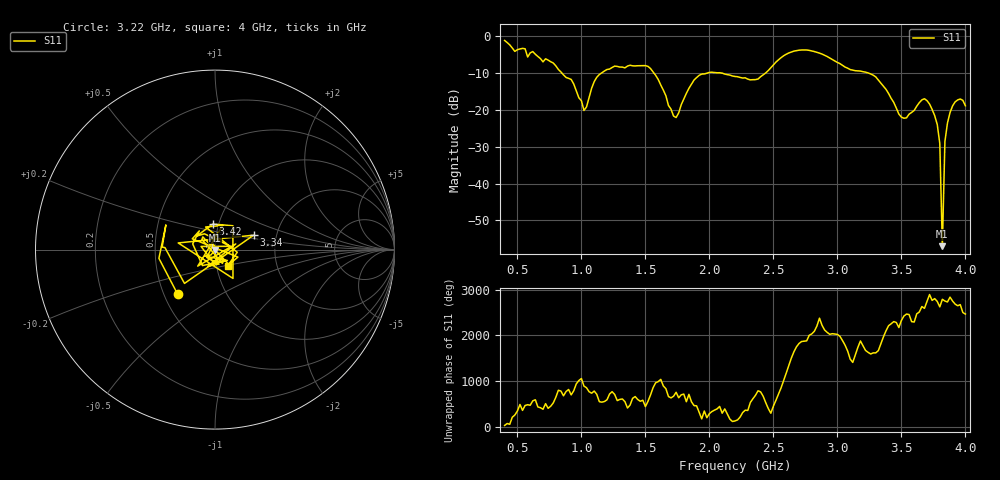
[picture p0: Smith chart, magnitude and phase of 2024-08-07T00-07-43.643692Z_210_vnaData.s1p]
!Created with skrf (http://scikit-rf.org).
# Hz S RI R 50.0
!freq ReS11 ImS11
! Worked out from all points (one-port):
!   181 points, 400 MHz to 4 GHz, reference 50 ohm
!   lowest |S11| = -57.0 dB at 3.82 GHz (marker M1), VSWR 1.00, Z = 50 - j0.142 ohm
!   |S11| at or under -10 dB: 1.566 GHz to 1.987 GHz (421 MHz wide, 23.7 % of centre); 2.09 GHz to 2.44 GHz (349.7 MHz wide, 15.4 % of centre); 3.24 GHz to end of sweep (the widest 3 of 4)
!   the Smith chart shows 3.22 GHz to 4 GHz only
!   S11 on the Smith chart (normalised r, x): 3.22 GHz: 0.59, -0.33; 3.34 GHz: 1.52, +0.26; 3.42 GHz: 0.94, +0.27; 4 GHz: 1.13, -0.20
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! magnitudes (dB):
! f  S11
! 400 MHz  -1.2
! 860 MHz  -10.5
! 920 MHz  -11.8
! 1.02 GHz  -20.2
! 1.12 GHz  -11.2
! 1.3 GHz  -8.4
! 1.52 GHz  -8.2
! 1.6 GHz  -11.8
! 1.72 GHz  -21.7
! 1.76 GHz  -20.8
! 1.92 GHz  -10.7
! 2.2 GHz  -11.0
! 2.38 GHz  -11.7
! 2.66 GHz  -4.1
! 3.1 GHz  -9.1
! 3.22 GHz  -9.8
! 3.34 GHz  -12.8
! 3.42 GHz  -16.9
! 3.5 GHz  -22.0
! 3.56 GHz  -21.2
! 3.68 GHz  -17.0
! 3.78 GHz  -24.0
! 3.8 GHz  -29.1
! 3.82 GHz  -57.0
! 3.84 GHz  -28.6
! 3.86 GHz  -23.6
! 3.92 GHz  -17.8
! 4 GHz  -18.9
